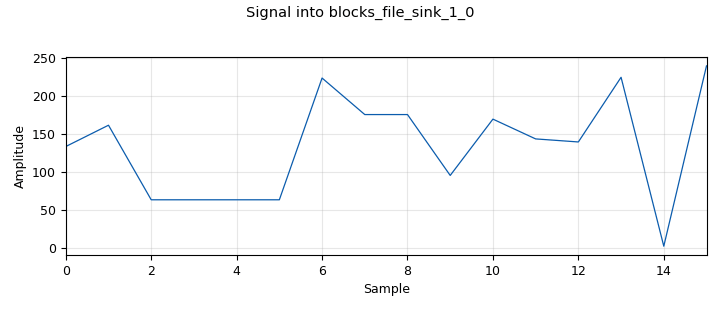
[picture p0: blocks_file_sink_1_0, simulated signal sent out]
options:
  parameters:
    generate_options: qt_gui
    id: ax25_r1
    output_language: python
    run: 'False'
    title: Not titled yet
  states: {}

blocks:
- name: samp_rate
  id: variable
  parameters:
    value: '32000'
  states: {}
- name: blocks_file_sink_1_0
  id: blocks_file_sink
  parameters:
    file: Text files/header.txt
    type: byte
  states: {}
- name: blocks_repack_bits_bb_0
  id: blocks_repack_bits_bb
  parameters:
    endianness: gr.GR_MSB_FIRST
    k: '1'
    l: '8'
  states: {}
- name: blocks_vector_source_x_0
  id: blocks_vector_source_x
  parameters:
    comment: ax.25 frame header
    repeat: 'False'
    type: byte
    vector: (1,0,0,0,0,1,1,0,1,0,1,0,0,0,1,0,0,1,0,0,0,0,0,0,0,1,0,0,0,0,0,0,0,1,0,0,0,0,0,0,0,1,0,0,0,0,0,0,1,1,1,0,0,0,0,0,1,0,1,1,0,0,0,0,1,0,1,1,0,0,0,0,0,1,1,0,0,0,0,0,1,0,1,0,1,0,1,0,1,0,0,1,0,0,0,0,1,0,0,0,1,1,0,0,1,1,1,0,0,0,0,1,0,0,0,0,0,0,1,1,1,1,1,1,0,0,0,0)
  states: {}

connections:
- [blocks_repack_bits_bb_0, '0', blocks_file_sink_1_0, '0']
- [blocks_vector_source_x_0, '0', blocks_repack_bits_bb_0, '0']

metadata:
  file_format: 1
  grc_version: 3.10.5.1
